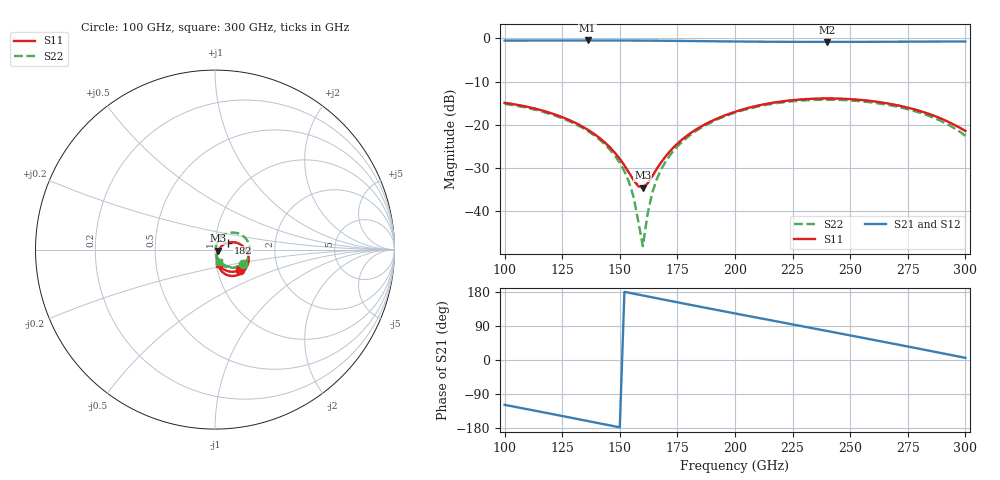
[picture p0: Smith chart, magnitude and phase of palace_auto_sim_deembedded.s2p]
! Created with skrf 1.11.0 (http://scikit-rf.org).
# GHz S DB R 50.0
!freq dBS11 angS11 dBS21 angS21 dBS12 angS12 dBS22 angS22
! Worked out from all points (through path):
!   101 points, 100 GHz to 300 GHz, reference 50 ohm
!   highest |S21| = -0.51 dB at 136 GHz (marker M1); lowest = -0.8 dB at 240 GHz (marker M2)
!   group delay of S21, straight-line fit = 3.27 ps
!   lowest |S11| = -34.5 dB at 160 GHz (marker M3), VSWR 1.04, Z = 51.8 - j0.631 ohm
!   |S11| at or under -10 dB: start of sweep to end of sweep
!   |S22| runs from -48.0 to -14.2 dB; largest |S21 - S12| = 1.1e-14
!   S11 on the Smith chart (normalised r, x): 100 GHz: 1.28, -0.30; 182 GHz: 1.16, +0.09; 300 GHz: 1.03, -0.17
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100  -14.92 -39.2  -0.55 -118.3  -0.55 -118.3  -15.18 -27.0
118  -16.96 -58.3  -0.53 -139.5  -0.53 -139.5  -17.21 -45.3
134  -20.48 -73.1  -0.51 -158.5  -0.51 -158.5  -20.77 -61.2
136  -21.11 -74.6  -0.51 -160.9  -0.51 -160.9  -21.41 -63.2
146  -25.37 -78.2  -0.52 -172.9  -0.52 -172.9  -25.91 -72.0
152  -29.39 -72.0  -0.53 179.9  -0.53 179.9  -30.73 -75.1
156  -32.80 -55.3  -0.54 175.0  -0.54 175.0  -36.72 -71.6
158  -34.18 -39.2  -0.54 172.6  -0.54 172.6  -42.27 -58.9
160  -34.52 -18.9  -0.55 170.2  -0.55 170.2  -48.04 10.1
162  -33.58 -0.2  -0.56 167.8  -0.56 167.8  -40.82 61.3
164  -31.96 13.0  -0.56 165.4  -0.56 165.4  -35.84 70.5
168  -28.64 25.9  -0.58 160.6  -0.58 160.6  -30.24 72.9
174  -24.86 30.4  -0.61 153.5  -0.61 153.5  -25.57 69.5
182  -21.46 27.8  -0.65 144.0  -0.65 144.0  -21.82 62.3
200  -17.00 12.7  -0.75 122.9  -0.75 122.9  -17.19 43.4
218  -14.77 -6.1  -0.82 102.0  -0.82 102.0  -15.01 23.3
234  -13.98 -23.3  -0.84 83.5  -0.84 83.5  -14.26 5.4
240  -13.91 -29.7  -0.84 76.5  -0.84 76.5  -14.21 -1.3
254  -14.23 -44.2  -0.83 60.2  -0.83 60.2  -14.54 -17.0
268  -15.23 -57.9  -0.81 43.8  -0.81 43.8  -15.57 -33.0
286  -17.84 -72.4  -0.77 22.5  -0.77 22.5  -18.34 -54.6
300  -21.43 -76.7  -0.75 5.6  -0.75 5.6  -22.54 -73.6
